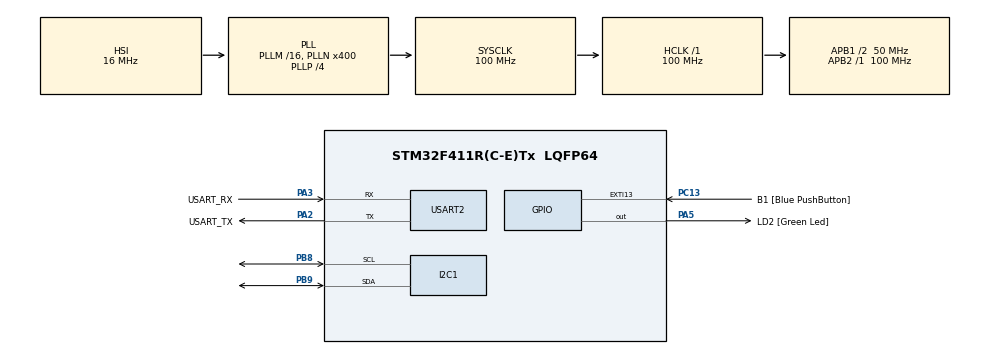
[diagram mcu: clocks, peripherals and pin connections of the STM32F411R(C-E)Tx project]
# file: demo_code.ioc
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FREERTOS.Tasks01=defaultTask,0,128,StartDefaultTask,Default,NULL,Dynamic,NULL,NULL
FREERTOS.configUSE_NEWLIB_REENTRANT=0
I2C1.I2C_Mode=I2C_Fast
Mcu.Family=STM32F4
Mcu.Name=STM32F411R(C-E)Tx
Mcu.Package=LQFP64
NVIC.PriorityGroup=NVIC_PRIORITYGROUP_4
NVIC.TIM1_UP_TIM10_IRQn=true\:15\:0\:false\:false\:true\:false\:false\:true\:true
NVIC.TimeBase=TIM1_UP_TIM10_IRQn
NVIC.TimeBaseIP=TIM1
PA13.GPIO_Label=TMS
PA13.Mode=Serial_Wire
PA13.Signal=SYS_JTMS-SWDIO
PA14.GPIO_Label=TCK
PA14.Mode=Serial_Wire
PA14.Signal=SYS_JTCK-SWCLK
PA2.GPIO_Label=USART_TX
PA2.Mode=Asynchronous
PA2.Signal=USART2_TX
PA3.GPIO_Label=USART_RX
PA3.Mode=Asynchronous
PA3.Signal=USART2_RX
PA5.GPIO_Label=LD2 [Green Led]
PA5.Signal=GPIO_Output
PB3.GPIO_Label=SWO
PB3.Signal=SYS_JTDO-SWO
PB8.Mode=I2C
PB8.Signal=I2C1_SCL
PB9.Mode=I2C
PB9.Signal=I2C1_SDA
PC13-ANTI_TAMP.GPIO_Label=B1 [Blue PushButton]
PC13-ANTI_TAMP.GPIO_ModeDefaultEXTI=GPIO_MODE_IT_FALLING
PC13-ANTI_TAMP.Signal=GPXTI13
PC14-OSC32_IN.Mode=LSE-External-Oscillator
PC14-OSC32_IN.Signal=RCC_OSC32_IN
PC15-OSC32_OUT.Mode=LSE-External-Oscillator
PC15-OSC32_OUT.Signal=RCC_OSC32_OUT
PH0\ -\ OSC_IN.Mode=HSE-External-Clock-Source
PH0\ -\ OSC_IN.Signal=RCC_OSC_IN
PH1\ -\ OSC_OUT.Mode=HSE-External-Clock-Source
PH1\ -\ OSC_OUT.Signal=RCC_OSC_OUT
ProjectManager.HeapSize=0x200
ProjectManager.StackSize=0x400
ProjectManager.TargetToolchain=MDK-ARM V5.32
RCC.48MHZClocksFreq_Value=100000000
RCC.AHBFreq_Value=100000000
RCC.APB1CLKDivider=RCC_HCLK_DIV2
RCC.APB1Freq_Value=50000000
RCC.APB1TimFreq_Value=100000000
RCC.APB2Freq_Value=100000000
RCC.APB2TimFreq_Value=100000000
RCC.CortexFreq_Value=100000000
RCC.FLatency-AdvancedSettings=FLASH_LATENCY_3
RCC.HCLKFreq_Value=100000000
RCC.HSE_VALUE=8000000
RCC.HSI_VALUE=16000000
RCC.PLLN=400
RCC.PLLP=RCC_PLLP_DIV4
RCC.SYSCLKFreq_VALUE=100000000
RCC.SYSCLKSource=RCC_SYSCLKSOURCE_PLLCLK
RCC.VCOOutputFreq_Value=400000000
USART2.VirtualMode=VM_ASYNC
VP_FREERTOS_VS_CMSIS_V1.Mode=CMSIS_V1
VP_SYS_VS_tim1.Mode=TIM1
board=NUCLEO-F411RE

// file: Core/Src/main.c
/* USER CODE BEGIN Header */
/**
 ******************************************************************************
 * @file           : main.c
 * @brief          : Main program body
 ******************************************************************************
 * @attention
 *
 * Copyright (c) 2022 STMicroelectronics.
 * All rights reserved.
 *
 * This software is licensed under terms that can be found in the LICENSE file
 * in the root directory of this software component.
 * If no LICENSE file comes with this software, it is provided AS-IS.
 *
 ******************************************************************************
 */
/* USER CODE END Header */
#include "main.h"
#include "cmsis_os.h"
#include <stdio.h>
#include "i2c.h"
#include "usart.h"
#include "gpio.h"
#include "lis2dw12_reg.h"

/* USER CODE BEGIN PV */
stmdev_ctx_t dev_ctx;
/* USER CODE END PV */

void SystemClock_Config(void);
void MX_FREERTOS_Init(void);
/* USER CODE BEGIN PFP */
void LIS2DW12_Init(void);
/* USER CODE END PFP */

int main(void)
{

  /* MCU Configuration--------------------------------------------------------*/

  /* Reset of all peripherals, Initializes the Flash interface and the Systick. */
  HAL_Init();

  /* Configure the system clock */
  SystemClock_Config();

  /* Initialize all configured peripherals */
  MX_GPIO_Init();
  MX_USART2_UART_Init();
  MX_I2C1_Init();
  /* USER CODE BEGIN 2 */
  LIS2DW12_Init();
  /* USER CODE END 2 */

  /* Call init function for freertos objects (in freertos.c) */
  MX_FREERTOS_Init();

  /* Start scheduler */
  osKernelStart();

  /* We should never get here as control is now taken by the scheduler */
  /* Infinite loop */
  while (1)
  {
  }
}

void SystemClock_Config(void)
{
  RCC_OscInitTypeDef RCC_OscInitStruct = {0};
  RCC_ClkInitTypeDef RCC_ClkInitStruct = {0};

  /** Configure the main internal regulator output voltage
   */
  __HAL_RCC_PWR_CLK_ENABLE();
  __HAL_PWR_VOLTAGESCALING_CONFIG(PWR_REGULATOR_VOLTAGE_SCALE1);

  /** Initializes the RCC Oscillators according to the specified parameters
   * in the RCC_OscInitTypeDef structure.
   */
  RCC_OscInitStruct.OscillatorType = RCC_OSCILLATORTYPE_HSI;
  RCC_OscInitStruct.HSIState = RCC_HSI_ON;
  RCC_OscInitStruct.HSICalibrationValue = RCC_HSICALIBRATION_DEFAULT;
  RCC_OscInitStruct.PLL.PLLState = RCC_PLL_ON;
  RCC_OscInitStruct.PLL.PLLSource = RCC_PLLSOURCE_HSI;
  RCC_OscInitStruct.PLL.PLLM = 16;
  RCC_OscInitStruct.PLL.PLLN = 400;
  RCC_OscInitStruct.PLL.PLLP = RCC_PLLP_DIV4;
  RCC_OscInitStruct.PLL.PLLQ = 4;
  if (HAL_RCC_OscConfig(&RCC_OscInitStruct) != HAL_OK)
  {
    Error_Handler();
  }

  /** Initializes the CPU, AHB and APB buses clocks
   */
  RCC_ClkInitStruct.ClockType = RCC_CLOCKTYPE_HCLK | RCC_CLOCKTYPE_SYSCLK | RCC_CLOCKTYPE_PCLK1 | RCC_CLOCKTYPE_PCLK2;
  RCC_ClkInitStruct.SYSCLKSource = RCC_SYSCLKSOURCE_PLLCLK;
  RCC_ClkInitStruct.AHBCLKDivider = RCC_SYSCLK_DIV1;
  RCC_ClkInitStruct.APB1CLKDivider = RCC_HCLK_DIV2;
  RCC_ClkInitStruct.APB2CLKDivider = RCC_HCLK_DIV1;

  if (HAL_RCC_ClockConfig(&RCC_ClkInitStruct, FLASH_LATENCY_3) != HAL_OK)
  {
    Error_Handler();
  }
}

void HAL_TIM_PeriodElapsedCallback(TIM_HandleTypeDef *htim)
{
  if (htim->Instance == TIM1)
  {
    HAL_IncTick();
  }
}

void Error_Handler(void)
{
  __disable_irq();
  while (1)
  {
  }
}

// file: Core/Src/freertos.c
/* USER CODE BEGIN Header */
/**
 ******************************************************************************
 * File Name          : freertos.c
 * Description        : Code for freertos applications
 ******************************************************************************
 * @attention
 *
 * Copyright (c) 2022 STMicroelectronics.
 * All rights reserved.
 *
 * This software is licensed under terms that can be found in the LICENSE file
 * in the root directory of this software component.
 * If no LICENSE file comes with this software, it is provided AS-IS.
 *
 ******************************************************************************
 */
/* USER CODE END Header */

#include "FreeRTOS.h"
#include "task.h"
#include "main.h"
#include "cmsis_os.h"

/* USER CODE BEGIN Includes */
#include "lis2dw12_reg.h"
#include "i2c.h"
#include "usart.h"
#include <stdio.h>
#include <string.h>
#include "DataScope_DP.h"
/* USER CODE END Includes */

/* USER CODE BEGIN PD */
#define QUEUE_LEN 3
#define QUEUE_SIZE sizeof(uint16_t)
#define DATA_LENGTH 512
/* USER CODE END PD */

/* USER CODE BEGIN Variables */
static TaskHandle_t AppTaskCreate_Handle = NULL;
static TaskHandle_t LIS2DW12_Data_Get_Task_Handle = NULL;
// static TaskHandle_t LIS2DW12_Data_Save_Task_Handle = NULL;
static TaskHandle_t LIS2DW12_Data_Send_Task_Handle = NULL;

QueueHandle_t Acceleration_Data_Queue_Handle = NULL;

SemaphoreHandle_t Data_Get_BinarySem_Handle = NULL;
SemaphoreHandle_t Data_Save_BinarySem_Handle = NULL;
SemaphoreHandle_t Data_Send_BinarySem_Handle = NULL;

uint8_t tx_buffer[1000];

int16_t data_raw_acceleration[3];
float acceleration_mg[3];

float data_acceleration_buff_x[512];
float data_acceleration_buff_y[512];
float data_acceleration_buff_z[512];

uint8_t data_full_flag;

/* USER CODE END Variables */
osThreadId defaultTaskHandle;

/* USER CODE BEGIN FunctionPrototypes */
static void AppTaskCreate(void *parameter);

static void LIS2DW12_Data_Get_Task(void *parameter);
// static void LIS2DW12_Data_Save_Task(void *parameter);
static void LIS2DW12_Data_Send_Task(void *parameter);

/* USER CODE END FunctionPrototypes */

void StartDefaultTask(void const *argument);

void MX_FREERTOS_Init(void); /* (MISRA C 2004 rule 8.1) */

/* GetIdleTaskMemory prototype (linked to static allocation support) */
void vApplicationGetIdleTaskMemory(StaticTask_t **ppxIdleTaskTCBBuffer, StackType_t **ppxIdleTaskStackBuffer, uint32_t *pulIdleTaskStackSize);

/* USER CODE BEGIN GET_IDLE_TASK_MEMORY */
static StaticTask_t xIdleTaskTCBBuffer;
static StackType_t xIdleStack[configMINIMAL_STACK_SIZE];

void vApplicationGetIdleTaskMemory(StaticTask_t **ppxIdleTaskTCBBuffer, StackType_t **ppxIdleTaskStackBuffer, uint32_t *pulIdleTaskStackSize)
{
  *ppxIdleTaskTCBBuffer = &xIdleTaskTCBBuffer;
  *ppxIdleTaskStackBuffer = &xIdleStack[0];
  *pulIdleTaskStackSize = configMINIMAL_STACK_SIZE;
  /* place for user code */
}
/* USER CODE END GET_IDLE_TASK_MEMORY */

void MX_FREERTOS_Init(void)
{
  /* USER CODE BEGIN Init */
  BaseType_t xReturn = pdPASS;

  xReturn = xTaskCreate(AppTaskCreate, "AppTaskCreate", 512, NULL, 1, &AppTaskCreate_Handle);
  if (pdPASS == xReturn)
  {
    printf("AppTaskCreate任务创建成功!/r/n");
  }

  /* USER CODE END Init */

  /* Create the thread(s) */
  /* definition and creation of defaultTask */

}

void StartDefaultTask(void const *argument)
{
  for (;;)
  {
    osDelay(1);
  }
}

/* USER CODE BEGIN Application */
static void AppTaskCreate(void *parameter)
{
  BaseType_t xReturn = pdPASS;
  taskENTER_CRITICAL();
  Acceleration_Data_Queue_Handle = xQueueCreate((UBaseType_t)QUEUE_LEN, (UBaseType_t)QUEUE_SIZE);
  Data_Get_BinarySem_Handle = xSemaphoreCreateBinary();
  Data_Save_BinarySem_Handle = xSemaphoreCreateBinary();
  Data_Send_BinarySem_Handle = xSemaphoreCreateBinary();
  xReturn = xTaskCreate((TaskFunction_t)LIS2DW12_Data_Get_Task, (const char *)"LIS2DW12_Data_Get_Task", (uint16_t)512, (void *)NULL, (UBaseType_t)2, (TaskHandle_t *)&LIS2DW12_Data_Get_Task_Handle);
  if (pdPASS == xReturn)
    printf("Data_Get任务创建成功!/r/n");
  // xReturn = xTaskCreate((TaskFunction_t)LIS2DW12_Data_Save_Task, (const char *)"LIS2DW12_Data_Save_Task", (uint16_t)512, (void *)NULL, (UBaseType_t)2, (TaskHandle_t *)&LIS2DW12_Data_Save_Task_Handle);
  // if (pdPASS == xReturn)
  //   printf("Data_Save任务创建成功!/r/n");

  xReturn = xTaskCreate((TaskFunction_t)LIS2DW12_Data_Send_Task, (const char *)"LIS2DW12_Data_Send_Task", (uint16_t)512, (void *)NULL, (UBaseType_t)1, (TaskHandle_t *)&LIS2DW12_Data_Send_Task_Handle);
  if (pdPASS == xReturn)
    printf("Data_Send任务创建成功!/r/n");
  vTaskDelete(AppTaskCreate_Handle);
  taskEXIT_CRITICAL();
}

static void LIS2DW12_Data_Get_Task(void *parameter)
{
  uint16_t data_cnt;
  for (;;)
  {
    uint8_t reg;
    /* Read output only if new value is available */
    if (data_full_flag == 0)
    {
      lis2dw12_flag_data_ready_get(&dev_ctx, &reg);

      if (reg)
      {
        /* Read acceleration data */
        memset(data_raw_acceleration, 0x00, 3 * sizeof(int16_t));
        lis2dw12_acceleration_raw_get(&dev_ctx, data_raw_acceleration);
        // acceleration_mg[0] = lis2dw12_from_fs8_lp1_to_mg(data_raw_acceleration[0]);
        // acceleration_mg[1] = lis2dw12_from_fs8_lp1_to_mg(data_raw_acceleration[1]);
        // acceleration_mg[2] = lis2dw12_from_fs8_lp1_to_mg(data_raw_acceleration[2]);

        /* Start convert data */
        data_acceleration_buff_x[data_cnt] = lis2dw12_from_fs2_to_mg(
            data_raw_acceleration[0]);
        data_acceleration_buff_y[data_cnt] = lis2dw12_from_fs2_to_mg(
            data_raw_acceleration[1]);
        data_acceleration_buff_z[data_cnt] = lis2dw12_from_fs2_to_mg(
            data_raw_acceleration[2]);
        /* convert end */
        data_cnt++;

        if (data_cnt == DATA_LENGTH)
        {
          data_full_flag = 1;
          data_cnt = 0;
          osDelay(DATA_LENGTH * 20);
        }
        // sprintf((char *)tx_buffer,
        //         "Acceleration [mg]:%4.2f\t%4.2f\t%4.2f\t第%d个数据\r\n",
        //         acceleration_mg[0], acceleration_mg[1], acceleration_mg[2], ++cnt);
        // tx_com(tx_buffer, strlen((char const *)tx_buffer));
      }
    }
  }
}

// static void LIS2DW12_Data_Save_Task(void *parameter)
// {
//   BaseType_t xReturn = pdPASS;
//   uint16_t data_cnt = 0;
//   for (;;)
//   {
//     xReturn = xSemaphoreTake(Data_Get_BinarySem_Handle, portMAX_DELAY);
//     if (pdTRUE == xReturn)
//     {
//       printf("获取数据成功!\r\n");
//       data_acceleration_buff_x[data_cnt] = acceleration_mg[0];

//       data_acceleration_buff_y[data_cnt] = acceleration_mg[1];

//       data_acceleration_buff_z[data_cnt] = acceleration_mg[2];

//       data_cnt++;

//       if (data_cnt == DATA_LENGTH)
//         data_cnt = 0;
//     }
//     osDelay(800);
//   }
// }

static void LIS2DW12_Data_Send_Task(void *parameter)
{
  uint16_t index;
  for (;;)
  {
    if (data_full_flag == 1)
    {
      DataScope_Send_3axis_Data(data_acceleration_buff_x[index++], data_acceleration_buff_y[index++], data_acceleration_buff_z[index++]);
      if (index == DATA_LENGTH)
      {
        index = 0;
        data_full_flag = 0;
      }
    }
    osDelay(20);
  }
}

/* USER CODE END Application */
